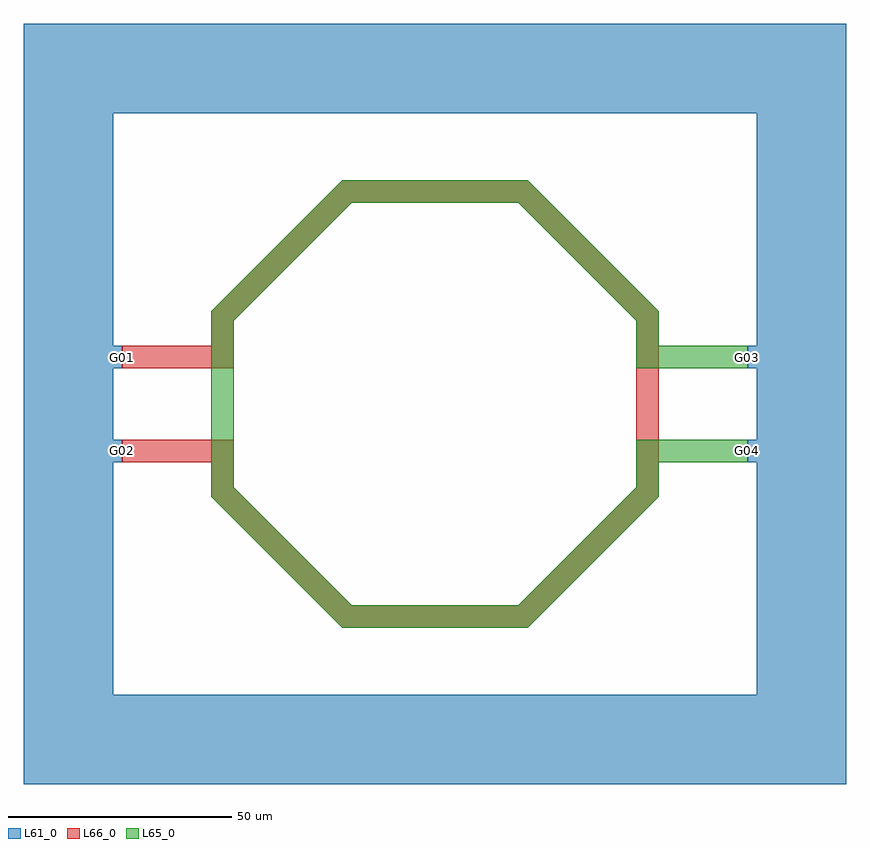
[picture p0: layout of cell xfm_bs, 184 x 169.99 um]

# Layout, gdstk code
import gdstk
lib = gdstk.Library(unit=1e-6, precision=1e-09)
def R(c, l, rs):  # rectangles x0, y0, x1, y1
    for r in rs: c.add(gdstk.rectangle(r[:2], r[2:], *l))
def P(c, l, *ps):  # polygons
    for p in ps: c.add(gdstk.Polygon(p, *l))
L61_0 = (61, 0)
L65_0 = (65, 0)
L66_0 = (66, 0)

xfm_bs = lib.new_cell('xfm_bs')
R(xfm_bs, L61_0, [(-92,-84.995,-72,84.995), (-72,-84.995,72,-64.995), (72,-84.995,92,84.995), (-72,-13,-70,-8), (70,-13,72,-8), (-72,8,-70,13), (70,8,72,13), (-72,64.995,72,84.995)])
R(xfm_bs, L65_0, [(45,-13,70,-8), (45,8,70,13)])
P(xfm_bs, L65_0, [(-50,0),(-50,20.705),(-20.71,49.995),(0,49.995),(0,44.995),(-18.63,44.995),(-45,18.625),(-45,0)],
  [(45,8),(45,18.625),(18.63,44.995),(0,44.995),(0,49.995),(20.71,49.995),(50,20.705),(50,8)],
  [(-20.71,-49.995),(-50,-20.705),(-50,0),(-45,0),(-45,-18.625),(-18.63,-44.995),(0,-44.995),(0,-49.995)],
  [(0,-49.995),(0,-44.995),(18.63,-44.995),(45,-18.625),(45,-8),(50,-8),(50,-20.705),(20.71,-49.995)])
R(xfm_bs, L66_0, [(-70,-13,-45,-8), (-70,8,-45,13)])
P(xfm_bs, L66_0, [(-50,8),(-50,20.705),(-20.71,49.995),(0,49.995),(0,44.995),(-18.63,44.995),(-45,18.625),(-45,8)],
  [(45,0),(45,18.625),(18.63,44.995),(0,44.995),(0,49.995),(20.71,49.995),(50,20.705),(50,0)],
  [(-20.71,-49.995),(-50,-20.705),(-50,-8),(-45,-8),(-45,-18.625),(-18.63,-44.995),(0,-44.995),(0,-49.995)],
  [(0,-49.995),(0,-44.995),(18.63,-44.995),(45,-18.625),(45,0),(50,0),(50,-20.705),(20.71,-49.995)])
xfm_bs.add(gdstk.Label('G01', (-70,10.5), layer=61, texttype=2))
xfm_bs.add(gdstk.Label('G02', (-70,-10.5), layer=61, texttype=2))
xfm_bs.add(gdstk.Label('G03', (70,10.5), layer=61, texttype=2))
xfm_bs.add(gdstk.Label('G04', (70,-10.5), layer=61, texttype=2))
xfm_bs.add(gdstk.Label('P1', (-70,10.5), layer=66, texttype=2))
xfm_bs.add(gdstk.Label('N1', (-70,-10.5), layer=66, texttype=2))
xfm_bs.add(gdstk.Label('P2', (70,10.5), layer=65, texttype=2))
xfm_bs.add(gdstk.Label('N2', (70,-10.5), layer=65, texttype=2))

lib.write_gds('xfm_bs.gds')
